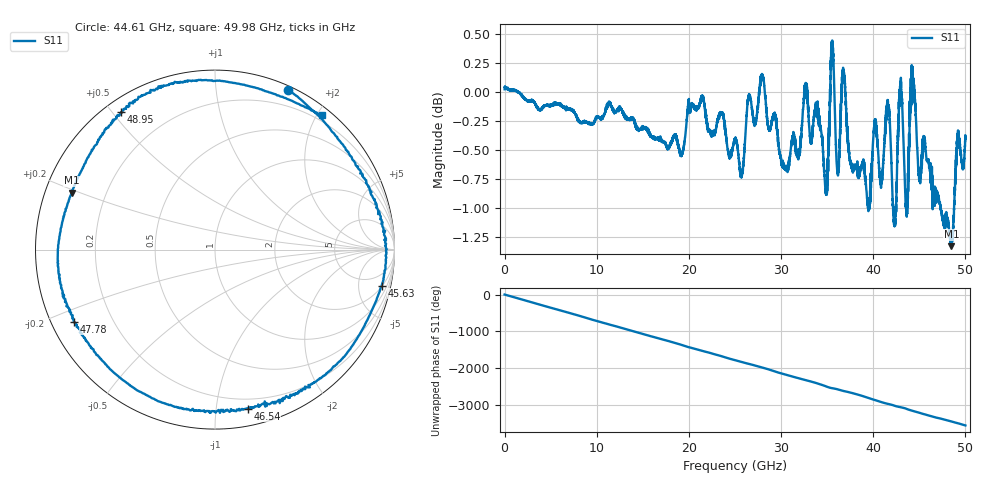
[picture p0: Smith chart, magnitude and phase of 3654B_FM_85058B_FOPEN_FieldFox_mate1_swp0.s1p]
!Created with skrf (http://scikit-rf.org).
# Hz S RI R 50.0
!freq ReS11 ImS11
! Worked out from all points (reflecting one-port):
!   10001 points, 300 kHz to 50 GHz, reference 50 ohm
!   lowest |S11| = -1.3 dB at 48.49 GHz (marker M1), VSWR 13.07, Z = 3.97 + j9.5 ohm
!   phase of S11 starts at 0 deg and turns -3550 deg over the sweep
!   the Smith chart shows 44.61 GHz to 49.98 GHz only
!   S11 on the Smith chart (normalised r, x): 44.61 GHz: 0.04, +1.56; 45.63 GHz: 2.13, -8.87; 46.54 GHz: 0.12, -1.22; 47.78 GHz: 0.07, -0.24; 48.95 GHz: 0.05, +0.53; 49.98 GHz: 0.12, +2.07
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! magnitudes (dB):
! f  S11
! 300 kHz  0.0
! 6.25 GHz  -0.1
! 12.5 GHz  -0.2
! 18.75 GHz  -0.4
! 25 GHz  -0.4
! 25.74 GHz  -0.7
! 27.94 GHz  0.2
! 31.25 GHz  -0.4
! 32.69 GHz  0.0
! 34.87 GHz  -0.9
! 35.56 GHz  0.4
! 36.11 GHz  -0.7
! 36.77 GHz  0.1
! 37.5 GHz  -0.6
! 39.47 GHz  -1.0
! 41.59 GHz  -0.1
! 42.3 GHz  -1.2
! 42.99 GHz  0.0
! 43.75 GHz  -0.9
! 44.19 GHz  0.2
! 44.61 GHz  -0.2
! 45.63 GHz  -0.4
! 46.54 GHz  -0.9
! 47.78 GHz  -1.1
! 48.49 GHz  -1.3
! 48.95 GHz  -0.7
! 49.98 GHz  -0.4
! 50 GHz  -0.4
